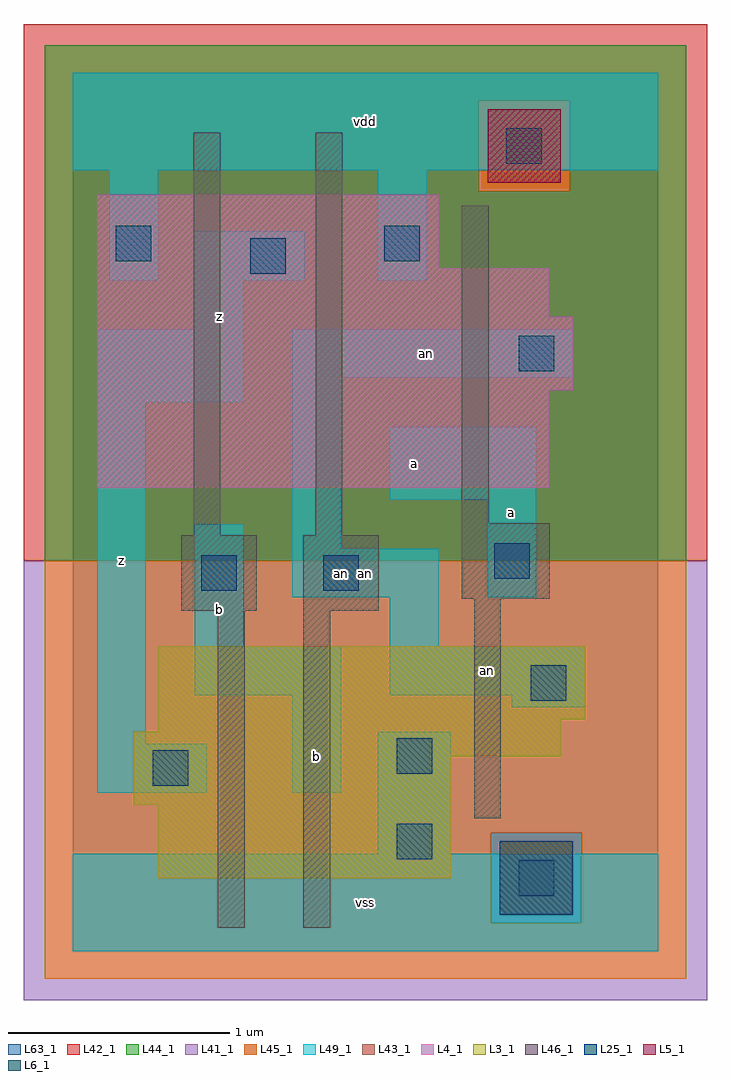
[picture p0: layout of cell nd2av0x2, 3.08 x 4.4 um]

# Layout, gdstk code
import gdstk
lib = gdstk.Library(unit=1e-6, precision=1e-09)
def R(c, l, rs):  # rectangles x0, y0, x1, y1
    for r in rs: c.add(gdstk.rectangle(r[:2], r[2:], *l))
L3_1 = (3, 1)
L4_1 = (4, 1)
L5_1 = (5, 1)
L6_1 = (6, 1)
L25_1 = (25, 1)
L41_1 = (41, 1)
L42_1 = (42, 1)
L43_1 = (43, 1)
L44_1 = (44, 1)
L45_1 = (45, 1)
L46_1 = (46, 1)
L49_1 = (49, 1)
L63_1 = (63, 1)

nd2av0x2 = lib.new_cell('nd2av0x2')
R(nd2av0x2, L3_1, [(0.385,0.33,1.705,0.66), (0.275,0.66,1.705,0.88), (0.275,0.88,2.2,0.99), (0.385,0.99,2.2,1.045), (0.385,1.045,2.31,1.375)])
R(nd2av0x2, L4_1, [(0.11,2.09,2.145,2.53), (0.11,2.53,2.255,2.86), (0.11,2.86,2.145,3.08), (0.11,3.08,1.65,3.41)])
R(nd2av0x2, L5_1, [(1.87,3.465,2.2,3.795)])
R(nd2av0x2, L6_1, [(1.925,0.165,2.255,0.495)])
R(nd2av0x2, L25_1, [(2.01,0.25,2.17,0.41), (1.46,0.415,1.62,0.575), (0.36,0.745,0.52,0.905), (1.46,0.8,1.62,0.96), (2.065,1.13,2.225,1.29), (0.58,1.625,0.74,1.785), (1.13,1.625,1.29,1.785), (1.9,1.68,2.06,1.84), (2.01,2.615,2.17,2.775), (0.8,3.055,0.96,3.215), (0.195,3.11,0.355,3.27), (1.405,3.11,1.565,3.27), (1.955,3.55,2.115,3.71)])
R(nd2av0x2, L41_1, [(-0.22,-0.22,2.86,1.76)])
R(nd2av0x2, L42_1, [(-0.22,1.76,2.86,4.18)])
R(nd2av0x2, L43_1, [(1.925,0.165,2.255,0.495), (0.385,0.33,1.705,0.66), (0.275,0.66,1.705,0.88), (0.275,0.88,2.2,0.99), (0.385,0.99,2.2,1.045), (0.385,1.045,2.31,1.375), (0.11,2.09,2.145,2.53), (0.11,2.53,2.255,2.86), (0.11,2.86,2.145,3.08), (0.11,3.08,1.65,3.41), (1.87,3.465,2.2,3.795)])
R(nd2av0x2, L44_1, [(1.885,0.125,2.295,0.535), (-0.125,1.76,2.765,3.425), (-0.125,3.425,1.83,3.835), (2.24,3.425,2.765,3.835), (-0.125,3.835,2.765,4.085)])
R(nd2av0x2, L45_1, [(-0.125,-0.125,2.765,0.125), (-0.125,0.125,1.885,0.535), (2.295,0.125,2.765,0.535), (-0.125,0.535,2.765,1.76), (1.83,3.425,2.24,3.835)])
R(nd2av0x2, L46_1, [(0.655,0.105,0.775,1.535), (1.04,0.105,1.16,1.535), (1.81,0.6,1.93,1.59), (0.49,1.535,0.83,1.875), (1.04,1.535,1.38,1.875), (1.755,1.59,2.15,1.93), (0.545,1.875,0.665,3.69), (1.095,1.875,1.215,3.69), (1.755,1.93,1.875,3.36)])
R(nd2av0x2, L49_1, [(0,0,2.64,0.44), (1.375,0.44,1.705,0.99), (0.11,0.715,0.605,0.935), (0.99,0.715,1.21,1.155), (0.11,0.935,0.33,2.475), (1.98,1.1,2.31,1.155), (0.55,1.155,1.21,1.375), (1.43,1.155,2.31,1.375), (0.55,1.375,0.77,1.925), (1.43,1.375,1.65,1.595), (0.99,1.595,1.65,1.815), (1.87,1.595,2.09,2.035), (0.99,1.815,1.21,2.585), (1.43,2.035,2.09,2.365), (0.11,2.475,0.77,2.805), (0.99,2.585,2.255,2.805), (0.55,2.805,0.77,3.025), (0.165,3.025,0.385,3.52), (0.55,3.025,1.045,3.245), (1.375,3.025,1.595,3.52), (0,3.52,2.64,3.96)])
R(nd2av0x2, L63_1, [(0,0,2.64,3.96)])
nd2av0x2.add(gdstk.Label('an', (1.21,1.705), layer=49, texttype=1))
nd2av0x2.add(gdstk.Label('z', (0.22,1.76), layer=49, texttype=1))
nd2av0x2.add(gdstk.Label('b', (1.1,0.88), layer=49, texttype=1))
nd2av0x2.add(gdstk.Label('b', (0.66,1.54), layer=49, texttype=1))
nd2av0x2.add(gdstk.Label('z', (0.66,2.86), layer=49, texttype=1))
nd2av0x2.add(gdstk.Label('vss', (1.32,0.22), layer=49, texttype=1))
nd2av0x2.add(gdstk.Label('an', (1.32,1.705), layer=49, texttype=1))
nd2av0x2.add(gdstk.Label('a', (1.54,2.2), layer=49, texttype=1))
nd2av0x2.add(gdstk.Label('vdd', (1.32,3.74), layer=49, texttype=1))
nd2av0x2.add(gdstk.Label('an', (1.87,1.265), layer=49, texttype=1))
nd2av0x2.add(gdstk.Label('a', (1.98,1.98), layer=49, texttype=1))
nd2av0x2.add(gdstk.Label('an', (1.595,2.695), layer=49, texttype=1))

lib.write_gds('nd2av0x2.gds')
